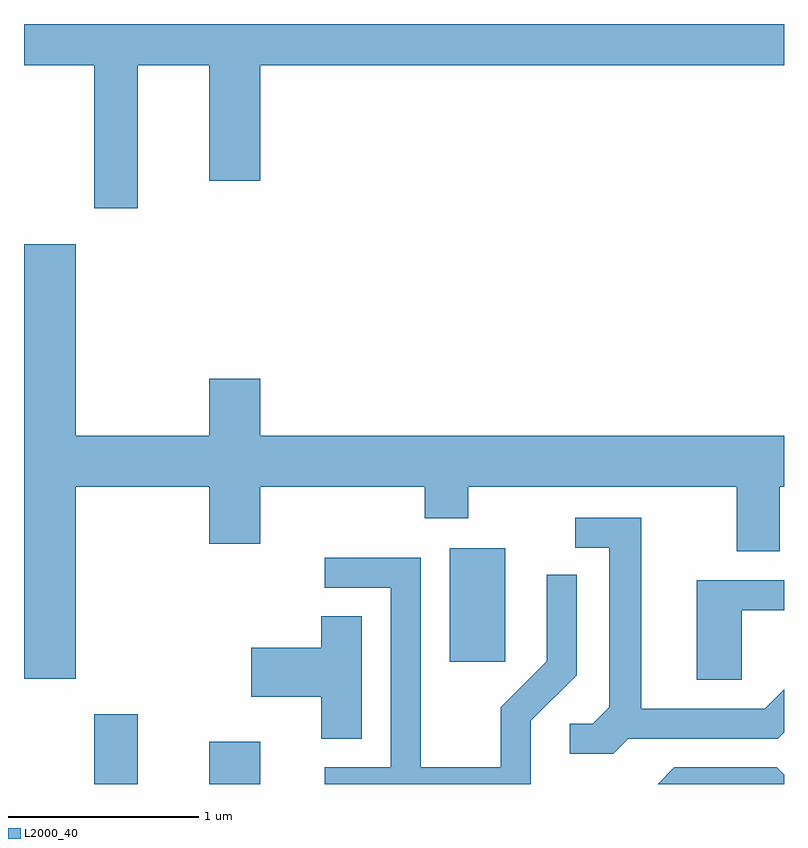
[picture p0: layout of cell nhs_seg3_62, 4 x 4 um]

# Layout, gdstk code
import gdstk
lib = gdstk.Library(unit=1e-6, precision=1e-09)
def R(c, l, rs):  # rectangles x0, y0, x1, y1
    for r in rs: c.add(gdstk.rectangle(r[:2], r[2:], *l))
def P(c, l, *ps):  # polygons
    for p in ps: c.add(gdstk.Polygon(p, *l))
L2000_40 = (2000, 40)

nhs_seg3_62 = lib.new_cell('nhs_seg3_62')
R(nhs_seg3_62, L2000_40, [(185.981,1239.892,186.209,1240.259), (186.586,1239.892,186.854,1240.114), (187.851,1240.536,188.144,1241.134)])
P(nhs_seg3_62, L2000_40, [(186.209,1243.676),(186.586,1243.676),(186.586,1243.066),(186.854,1243.066),(186.854,1243.676),(189.611,1243.676),(189.611,1243.892),(185.611,1243.892),(185.611,1243.676),(185.981,1243.676),(185.981,1242.921),(186.209,1242.921)],
  [(185.884,1241.456),(186.586,1241.456),(186.586,1241.156),(186.854,1241.156),(186.854,1241.456),(187.721,1241.456),(187.721,1241.291),(187.949,1241.291),(187.949,1241.456),(189.361,1241.456),(189.361,1241.116),(189.589,1241.116),(189.589,1241.456),(189.611,1241.456),(189.611,1241.724),(186.854,1241.724),(186.854,1242.024),(186.586,1242.024),(186.586,1241.724),(185.884,1241.724),(185.884,1242.734),(185.611,1242.734),(185.611,1240.446),(185.884,1240.446)],
  [(188.792,1240.131),(189.577,1240.131),(189.611,1240.165),(189.611,1240.392),(189.509,1240.289),(188.859,1240.289),(188.859,1241.294),(188.513,1241.294),(188.513,1241.136),(188.691,1241.136),(188.691,1240.297),(188.604,1240.209),(188.483,1240.209),(188.483,1240.051),(188.712,1240.051)],
  [(188.279,1240.224),(188.519,1240.464),(188.519,1240.993),(188.361,1240.993),(188.361,1240.537),(188.121,1240.297),(188.121,1239.979),(187.699,1239.979),(187.699,1241.084),(187.193,1241.084),(187.193,1240.926),(187.541,1240.926),(187.541,1239.979),(187.193,1239.979),(187.193,1239.892),(188.279,1239.892)],
  [(189.389,1240.806),(189.611,1240.806),(189.611,1240.964),(189.151,1240.964),(189.151,1240.441),(189.389,1240.441)],
  [(187.389,1240.774),(187.176,1240.774),(187.176,1240.609),(186.806,1240.609),(186.806,1240.351),(187.176,1240.351),(187.176,1240.131),(187.389,1240.131)],
  [(189.611,1239.94),(189.572,1239.979),(189.034,1239.979),(188.947,1239.892),(189.611,1239.892)])

lib.write_gds('nhs_seg3_62.gds')
